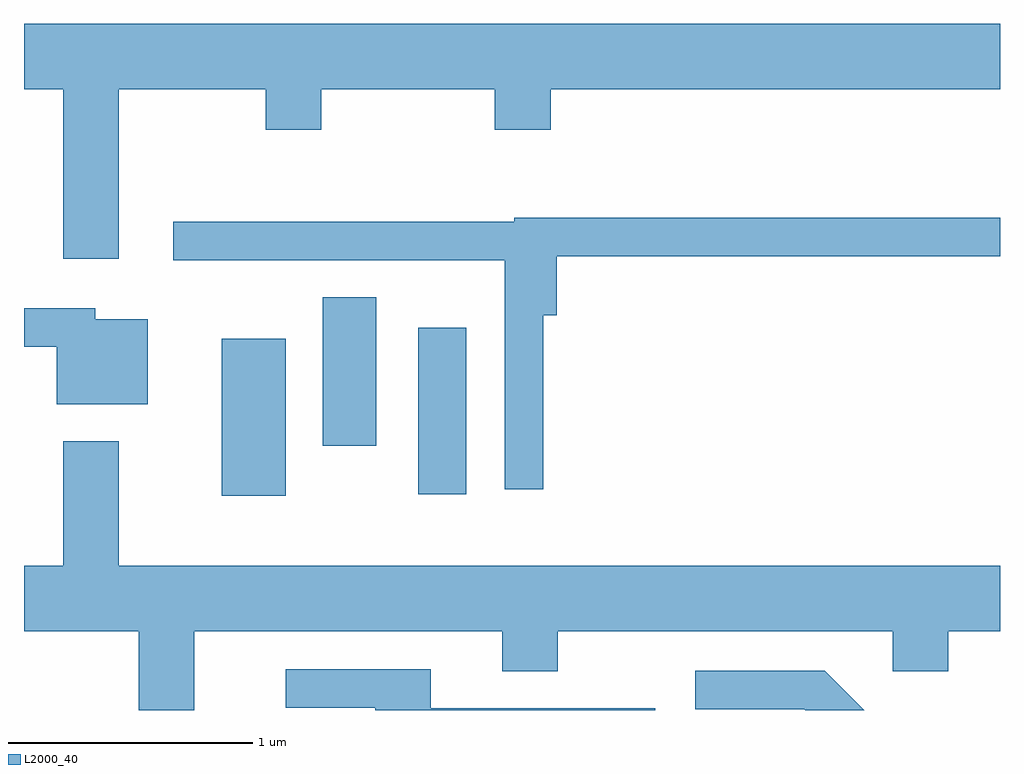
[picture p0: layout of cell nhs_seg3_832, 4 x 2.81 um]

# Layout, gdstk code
import gdstk
lib = gdstk.Library(unit=1e-6, precision=1e-09)
def R(c, l, rs):  # rectangles x0, y0, x1, y1
    for r in rs: c.add(gdstk.rectangle(r[:2], r[2:], *l))
def P(c, l, *ps):  # polygons
    for p in ps: c.add(gdstk.Polygon(p, *l))
L2000_40 = (2000, 40)

nhs_seg3_832 = lib.new_cell('nhs_seg3_832')
R(nhs_seg3_832, L2000_40, [(210.421,1148.771,210.684,1149.414), (211.226,1148.776,211.424,1149.459), (210.836,1148.976,211.054,1149.584)])
P(nhs_seg3_832, L2000_40, [(209.999,1150.436),(210.601,1150.436),(210.601,1150.271),(210.829,1150.271),(210.829,1150.436),(211.541,1150.436),(211.541,1150.271),(211.769,1150.271),(211.769,1150.436),(213.611,1150.436),(213.611,1150.704),(209.611,1150.704),(209.611,1150.436),(209.771,1150.436),(209.771,1149.741),(209.999,1149.741)],
  [(211.739,1149.511),(211.794,1149.511),(211.794,1149.751),(213.611,1149.751),(213.611,1149.909),(211.62,1149.909),(211.62,1149.894),(210.223,1149.894),(210.223,1149.736),(211.581,1149.736),(211.581,1148.798),(211.739,1148.798)],
  [(210.119,1149.494),(209.904,1149.494),(209.904,1149.539),(209.611,1149.539),(209.611,1149.381),(209.746,1149.381),(209.746,1149.146),(210.119,1149.146)],
  [(210.309,1148.216),(211.571,1148.216),(211.571,1148.051),(211.799,1148.051),(211.799,1148.216),(213.171,1148.216),(213.171,1148.051),(213.399,1148.051),(213.399,1148.216),(213.611,1148.216),(213.611,1148.484),(209.999,1148.484),(209.999,1148.994),(209.771,1148.994),(209.771,1148.484),(209.611,1148.484),(209.611,1148.216),(210.081,1148.216),(210.081,1147.892),(210.309,1147.892)],
  [(212.199,1147.899),(211.279,1147.899),(211.279,1148.059),(210.683,1148.059),(210.683,1147.901),(211.051,1147.901),(211.051,1147.892),(212.199,1147.892)],
  [(212.892,1148.054),(212.363,1148.054),(212.363,1147.896),(212.809,1147.896),(212.813,1147.892),(213.054,1147.892)])

lib.write_gds('nhs_seg3_832.gds')
